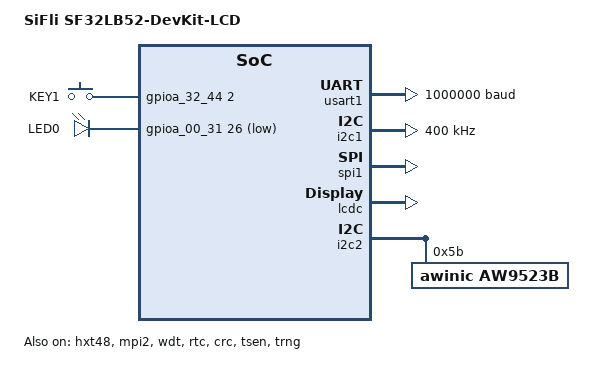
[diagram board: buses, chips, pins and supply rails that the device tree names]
/*
 * Copyright (c) 2025 Core Devices LLC
 * SPDX-License-Identifier: Apache-2.0
 */

/dts-v1/;

#include <sifli/sf32lb52x.dtsi>
#include <sifli/sf32lb52x-ram012.dtsi>
#include <zephyr/dt-bindings/dma/sf32lb52x-dma.h>
#include <zephyr/dt-bindings/gpio/gpio.h>
#include <zephyr/dt-bindings/i2c/i2c.h>
#include <zephyr/dt-bindings/input/input-event-codes.h>

#include "sf32lb52_devkit_lcd-pinctrl.dtsi"

/ {
	model = "SiFli SF32LB52-DevKit-LCD";
	compatible = "sifli,sf32lb52-devkit-lcd";

	chosen {
		zephyr,flash = &py25q128ha;
		zephyr,flash-controller = &mpi2;
		zephyr,code-partition = &code;
		zephyr,console = &usart1;
		zephyr,shell-uart = &usart1;
		zephyr,crc = &crc;
		zephyr,entropy = &trng;
		zephyr,bt-hci = &mailbox;
		zephyr,display = &st7789v;
	};

	buttons {
		compatible = "gpio-keys";

		key1: key1 {
			label = "KEY1";
			gpios = <&gpioa_32_44 2 GPIO_ACTIVE_HIGH>;
			zephyr,code = <INPUT_KEY_1>;
		};
	};

	leds {
		compatible = "gpio-leds";

		led0: led0 {
			label = "LED0";
			gpios = <&gpioa_00_31 26 GPIO_ACTIVE_LOW>;
		};
	};

	aliases {
		led0 = &led0;
		sw0 = &key1;
		rtc = &rtc;
		watchdog0 = &wdt;
	};
};

&cpu0 {
	clock-frequency = <DT_FREQ_M(240)>;
};

&hxt48 {
	status = "okay";
};

&rcc_clk {
	status = "okay";

	sifli,hdiv = <1>;
	sifli,pdiv1 = <1>;
	sifli,pdiv2 = <6>;
	sifli,sys-clk-src = "dll1";

	dll1 {
		status = "okay";
		clock-frequency = <DT_FREQ_M(240)>;
	};
};

&rcc_rst {
	status = "okay";
};

&gpioa_00_31 {
	status = "okay";
};

&gpioa_32_44 {
	status = "okay";
};

&dmac {
	status = "okay";
};

&mpi2 {
	compatible = "sifli,sf32lb-mpi-qspi-nor";
	dmas = <&dmac 0 SF32LB52X_DMA_REQ_MPI2 SF32LB_DMA_PL_MEDIUM>;
	sifli,psclr = <0>;
	sifli,lines = <4>;
	status = "okay";

	py25q128ha: flash@0 {
		compatible = "puya,py25q128ha", "jedec,qspi-nor";
		reg = <0x0>;
		size = <DT_SIZE_M(128)>;
		quad-enable-requirements = "S2B1v1";

		partitions {
			compatible = "fixed-partitions";
			#address-cells = <1>;
			#size-cells = <1>;

			ptable: partition@0 {
				label = "ptable";
				reg = <0x0 DT_SIZE_K(64)>;
			};

			code: partition@10000 {
				label = "code";
				reg = <0x10000 DT_SIZE_K(16320)>;
			};
		};
	};
};

&pinctrl {
	status = "okay";
};

&usart1 {
	status = "okay";
	current-speed = <1000000>;
	pinctrl-0 = <&usart1_default>;
	pinctrl-names = "default";
};

&wdt {
	status = "okay";
};

&rtc {
	status = "okay";
};

&i2c1 {
	status = "okay";
	pinctrl-0 = <&i2c1_default>;
	pinctrl-names = "default";
	clock-frequency = <I2C_BITRATE_FAST>;
};

&crc {
	status = "okay";
};

temp_sensor: &tsen {
	status = "okay";
};

&trng {
	status = "okay";
};

&mailbox {
	status = "okay";
};

&spi1 {
	status = "okay";
	pinctrl-0 = <&spi1_default>;
	pinctrl-names = "default";
};

&lcdc {
	status = "okay";

	mipi_dbi: mipi-dbi {
		status = "okay";
		#address-cells = <1>;
		#size-cells = <0>;
		pinctrl-0 = <&lcdc_8080_default>;
		pinctrl-names = "default";

		st7789v: st7789v@0 {
			compatible = "sitronix,st7789v";
			reg = <0>;
			led-gpios = <&aw9523_gpio 8 GPIO_ACTIVE_LOW>;
			led1-gpios = <&aw9523_gpio 9 GPIO_ACTIVE_LOW>;
			led2-gpios = <&aw9523_gpio 10 GPIO_ACTIVE_LOW>;
			mipi-mode = "MIPI_DBI_MODE_8080_BUS_8_BIT";
			mipi-max-frequency = <12000000>;
			width = <240>;
			height = <320>;
			x-offset = <0>;
			y-offset = <0>;
			vcom = <0x1F>;
			gctrl = <0x35>;
			vdvs = <0x20>;
			mdac = <0x00>;
			gamma = <0x01>;
			colmod = <0x05>;
			lcm = <0x2c>;
			porch-param = [0c 0c 00 33 33];
			cmd2en-param = [5a 69 02 00];
			pwctrl1-param = [a4 a1];
			pvgam-param = [D0 08 11 08 0C 15 39 33 50 36 13 14 29 2D];
			nvgam-param = [D0 08 10 08 06 06 39 44 51 0B 16 14 2F 31];
			ram-param = [00 F0];
			rgb-param = [40 02 14];
		};
	};
};

&i2c2 {
	status = "okay";
	pinctrl-0 = <&i2c2_default>;
	pinctrl-names = "default";

	aw9523b@5b {
		compatible = "awinic,aw9523b";
		reg = <0x5b>;
		status = "okay";

		aw9523_gpio: gpio {
			compatible = "awinic,aw9523b-gpio";
			gpio-controller;
			#gpio-cells = <2>;
			port0-push-pull;
			int-gpios = <&gpioa_00_31 31 (GPIO_ACTIVE_LOW | GPIO_PULL_UP)>;
			reset-gpios = <&gpioa_00_31 9 (GPIO_ACTIVE_LOW | GPIO_PULL_UP)>;
		};
	};
};
